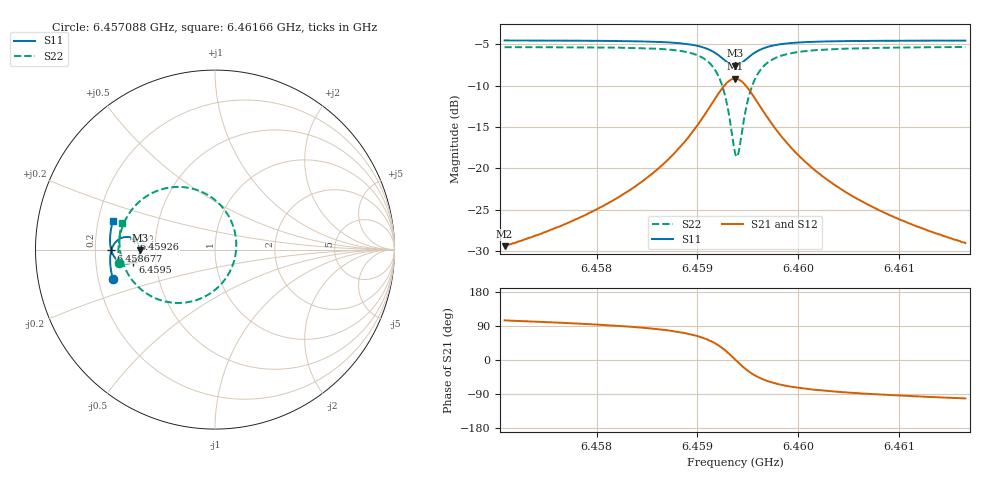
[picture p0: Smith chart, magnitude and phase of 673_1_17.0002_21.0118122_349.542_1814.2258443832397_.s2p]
#  HZ  S  RI  R  50.00
! Rohde & Schwarz Vector Network Analyzer
! Rohde-Schwarz,ZNB20-2Port,1311601062101988,3.16
! Created: UTC 3/20/2024, 11:22:14 PM
! freq[Hz]  re:S11  im:S11  re:S21  im:S21  re:S12  im:S12  re:S22  im:S22
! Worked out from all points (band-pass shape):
!   401 points, 6.457088 GHz to 6.46166 GHz, reference 50 ohm
!   highest |S21| = -9.15 dB at 6.459374 GHz (marker M1); lowest = -29.4 dB at 6.457088 GHz (marker M2)
!   |S21| within 3 dB of the highest: 6.459146 GHz to 6.459604 GHz (457.6 kHz wide, 0.00708 % of centre)
!   lowest |S11| = -7.6 dB at 6.459374 GHz (marker M3), VSWR 2.43, Z = 20.6 - j0.207 ohm
!   |S11| at or under -10 dB: nowhere
!   |S22| runs from -18.6 to -5.3 dB; largest |S21 - S12| = 0.014
!   S11 on the Smith chart (normalised r, x): 6.457088 GHz: 0.26, -0.13; 6.458677 GHz: 0.27, -0.00; 6.45926 GHz: 0.37, +0.06; 6.4595 GHz: 0.37, -0.07; 6.46166 GHz: 0.26, +0.13
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6.4570881e9  -0.5692 -0.1634  -0.00856 0.0328  -0.00675 0.0328  -0.5341 -0.0756
6.4578538e9  -0.5821 -0.0961  -0.0048 0.0509  -0.00232 0.0503  -0.5381 0.0148
6.4582652e9  -0.5844 -0.0549  0.00108 0.0698  0.00424 0.0684  -0.5292 0.0802
6.4586195e9  -0.5799 -0.0126  0.0159 0.0994  0.0198 0.0965  -0.5018 0.16
6.4586767e9  -0.578 -0.00467  0.0202 0.1063  0.0243 0.103  -0.4934 0.1764
6.4588824e9  -0.5644 0.0273  0.0484 0.1385  0.0525 0.1334  -0.4403 0.2488
6.459031e9  -0.5414 0.0533  0.0944 0.1686  0.0975 0.1619  -0.3556 0.3124
6.4591681e9  -0.4973 0.0705  0.1823 0.1841  0.183 0.1767  -0.195 0.3492
6.4592595e9  -0.4524 0.0596  0.2723 0.1518  0.2724 0.1458  -0.0277 0.2968
6.4593281e9  -0.4236 0.0271  0.3324 0.0791  0.3346 0.0736  0.0873 0.1654
6.4593738e9  -0.4167 -0.00415  0.3484 0.0105  0.352 0.00332  0.1187 0.037
6.4594081e9  -0.4209 -0.028  0.3423 -0.0424  0.3461 -0.0517  0.1065 -0.0632
6.4594538e9  -0.4367 -0.0542  0.313 -0.1026  0.3152 -0.1148  0.0473 -0.1772
6.4594995e9  -0.459 -0.0705  0.2701 -0.1438  0.2692 -0.1572  -0.0395 -0.2523
6.4595453e9  -0.4823 -0.0773  0.2249 -0.1662  0.2209 -0.1793  -0.13 -0.2888
6.459591e9  -0.5028 -0.0771  0.1841 -0.1746  0.1777 -0.1862  -0.2109 -0.2974
6.4597396e9  -0.5469 -0.0562  0.0953 -0.1596  0.0864 -0.1657  -0.3801 -0.2455
6.4598996e9  -0.5684 -0.0283  0.0502 -0.1307  0.0423 -0.1334  -0.4606 -0.1715
6.4601396e9  -0.5809 0.00741  0.0211 -0.0986  0.0152 -0.099  -0.5079 -0.0877
6.4604939e9  -0.5851 0.0497  0.00504 -0.0704  0.000916 -0.0699  -0.5288 -0.00564
6.4609053e9  -0.5826 0.0911  -0.0022 -0.0523  -0.00499 -0.0514  -0.5322 0.0606
6.4616596e9  -0.5698 0.1579  -0.00697 -0.0347  -0.00872 -0.0339  -0.5194 0.1503
